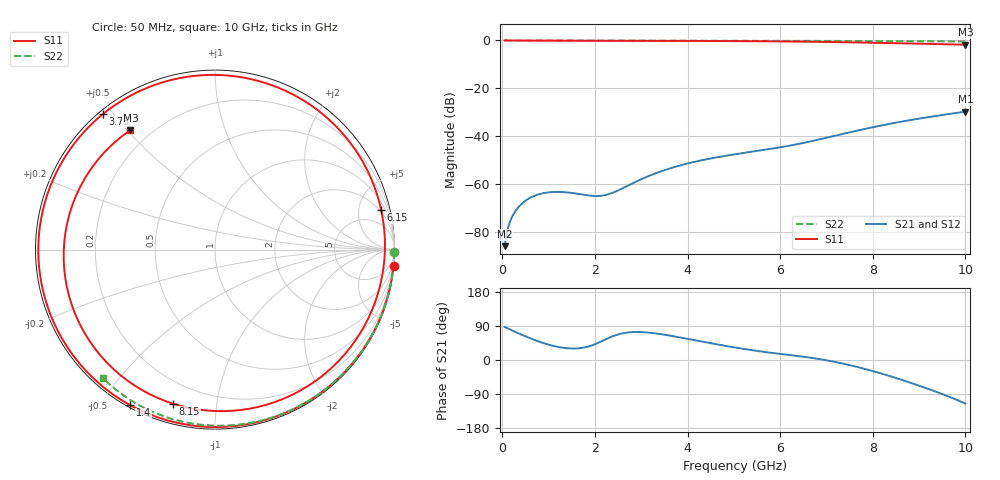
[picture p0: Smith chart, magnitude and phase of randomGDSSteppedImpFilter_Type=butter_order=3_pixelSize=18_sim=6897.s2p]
! freq	dB(S11)	phase(S11)	dB(S12)	phase(S12)
!  dB(S21)	phase(S21)	dB(S22)	phase(S22)
!S-par simulation data
#  GHz  S  DB  R 50
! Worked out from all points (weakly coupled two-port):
!   200 points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, 50 MHz to 10 GHz, reference 50 ohm
!   highest |S21| = -29.78 dB at 10 GHz (marker M1); lowest = -86.1 dB at 50 MHz (marker M2)
!   lowest |S11| = -1.8 dB at 10 GHz (marker M3), VSWR 9.86, Z = 6.41 + j25.5 ohm
!   |S11| at or under -10 dB: nowhere
!   |S22| runs from -0.4 to 0.0 dB; largest |S21 - S12| = 0
!   S11 on the Smith chart (normalised r, x): 50 MHz: 0, -22; 1.4 GHz: 0.01, -0.59; 3.75 GHz: 0.01, +0.47; 6.15 GHz: 1.72, +8.12; 8.15 GHz: 0.09, -0.76; 10 GHz: 0.13, +0.51
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0.05  -0.01 -5.1  -86.14 87.2  -86.14 87.2  -0.00 -0.8
0.1  -0.02 -10.2  -80.17 84.3  -80.17 84.3  -0.00 -1.5
0.35  -0.04 -34.9  -69.77 70.3  -69.77 70.3  -0.01 -5.3
0.7  -0.08 -66.8  -65.01 52.7  -65.01 52.7  -0.01 -10.5
1  -0.10 -91.0  -63.60 40.5  -63.60 40.5  -0.02 -15.0
1.4  -0.11 -118.6  -63.62 31.1  -63.62 31.1  -0.03 -21.0
1.75  -0.12 -139.3  -64.59 32.5  -64.59 32.5  -0.03 -26.1
2.5  -0.13 -176.7  -62.81 67.5  -62.81 67.5  -0.05 -37.0
3.4  -0.16 144.4  -55.00 68.6  -55.00 68.6  -0.07 -49.7
3.75  -0.18 129.6  -52.82 61.5  -52.82 61.5  -0.07 -54.6
4.45  -0.22 99.1  -49.60 45.4  -49.60 45.4  -0.09 -64.1
5.05  -0.27 71.0  -47.57 32.4  -47.57 32.4  -0.11 -72.0
5.55  -0.33 45.9  -46.11 23.1  -46.11 23.1  -0.13 -78.5
6.15  -0.43 13.5  -44.24 13.9  -44.24 13.9  -0.15 -86.0
6.7  -0.55 -18.1  -42.08 5.3  -42.08 5.3  -0.18 -92.8
7.45  -0.76 -62.7  -38.70 -12.1  -38.70 -12.1  -0.22 -101.8
8.15  -1.01 -105.2  -35.74 -34.4  -35.74 -34.4  -0.27 -110.0
8.35  -1.09 -117.5  -34.96 -41.7  -34.96 -41.7  -0.29 -112.3
8.85  -1.30 -149.2  -33.20 -61.5  -33.20 -61.5  -0.33 -118.1
9.25  -1.46 -176.0  -31.96 -78.6  -31.96 -78.6  -0.37 -122.6
9.65  -1.64 154.5  -30.79 -97.0  -30.79 -97.0  -0.41 -127.1
10  -1.77 125.3  -29.78 -115.0  -29.78 -115.0  -0.44 -131.0
